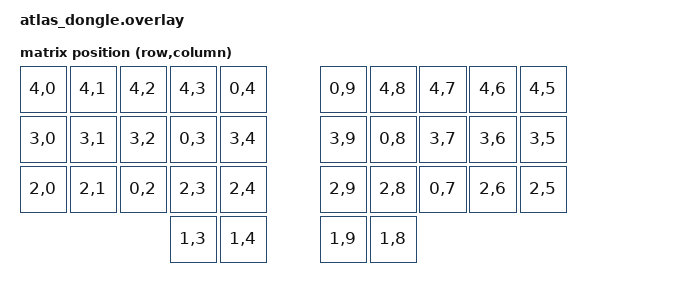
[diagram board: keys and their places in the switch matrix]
/*
 * atlas dongle: keyless XIAO on USB, the ESB central. It has no matrix of its
 * own (mock kscan) but needs the keyboard's transform so key positions match.
 */
#include <dt-bindings/zmk/matrix_transform.h>

/ {
    chosen {
        zmk,kscan = &mock_kscan;
        zmk,physical-layout = &physical_layout0;
    };

    /* ESB split transport address config (same on dongle and halves) */
    esb_split {
        compatible = "zmk,esb-split";
        base-addr-0 = <0xE7 0xE7 0xE7 0xE7>;
        base-addr-1 = <0xC2 0xC2 0xC2 0xC2>;
        addr-prefix = <0xE7 0xC2 0xC3 0xC4 0xC5 0xC6 0xC7 0xC8>;
    };

    mock_kscan: mock_kscan_0 {
        compatible = "zmk,kscan-mock";
        columns = <0>;
        rows = <0>;
        events = <0>;
    };

    default_transform: keymap_transform_0 {
        compatible = "zmk,matrix-transform";
        columns = <10>;
        rows = <5>;
        map = <
            RC(4,0) RC(4,1) RC(4,2) RC(4,3) RC(0,4)   RC(0,9) RC(4,8) RC(4,7) RC(4,6) RC(4,5)
            RC(3,0) RC(3,1) RC(3,2) RC(0,3) RC(3,4)   RC(3,9) RC(0,8) RC(3,7) RC(3,6) RC(3,5)
            RC(2,0) RC(2,1) RC(0,2) RC(2,3) RC(2,4)   RC(2,9) RC(2,8) RC(0,7) RC(2,6) RC(2,5)
                                                    RC(1,3) RC(1,4)   RC(1,9) RC(1,8)
        >;
    };

    physical_layout0: physical_layout_0 {
        compatible = "zmk,physical-layout";
        display-name = "Default Layout";
        transform = <&default_transform>;
    };
};
